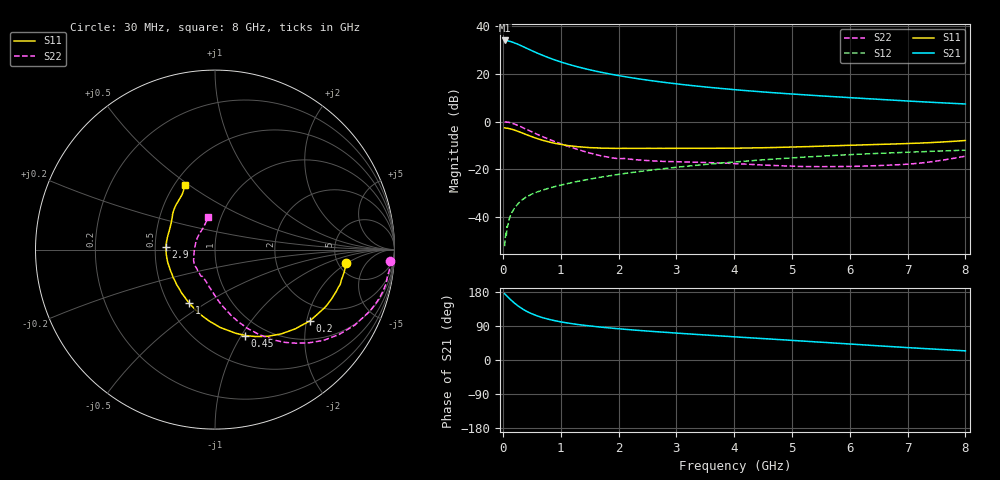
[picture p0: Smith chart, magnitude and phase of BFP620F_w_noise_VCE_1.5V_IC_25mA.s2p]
! Infineon Technologies  Discrete & RF Semiconductors
! BFP620F
! VCE =  1.5 V,  IC =  25 mA
! Common Emitter S-Parameters:  Dec 2014
# GHz  S  MA  R  50
!  f  S11  S21  S12  S22
! GHz  MAG  ANG  MAG  ANG  MAG  ANG  MAG  ANG
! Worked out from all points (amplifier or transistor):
!   95 points, 30 MHz to 8 GHz, reference 50 ohm
!   highest |S21| = 34.1 dB at 30 MHz (marker M1)
!   |S21| within 3 dB of that: start of sweep to 386.6 MHz
!   unconditionally stable (mu >= 1): 2.697 GHz to end of sweep
!   at 300 MHz: K = 0.33, MSG = 32.8 dB, |S12| = -33.6 dB
!   at 3.3 GHz: K = 1.02, MAG = 16.0 dB, |S12| = -18.5 dB
!   at 8 GHz: K = 1.06, MAG = 8.2 dB, |S12| = -12.0 dB
!   lowest NFmin = 1.00 dB at 450 MHz
!   S11 on the Smith chart (normalised r, x): 30 MHz: 5.91, -1.91; 200 MHz: 1.49, -2.10; 450 MHz: 0.81, -1.04; 1 GHz: 0.64, -0.42; 2.9 GHz: 0.57, +0.02; 8 GHz: 0.56, +0.48
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0.03  0.735 -5.8  50.52 175.1  0.0024 85.8  0.976 -3.6
0.07  0.724 -13.6  50.05 168.8  0.0062 80.0  0.9723 -10.0
0.12  0.7056 -22.9  48.38 161.1  0.0096 80.4  0.9495 -17.6
0.15  0.6902 -28.2  47.28 156.9  0.0119 79.3  0.9274 -21.8
0.2  0.6621 -36.7  44.89 150.3  0.015 74.1  0.8843 -28.5
0.25  0.6285 -44.6  42.51 144.1  0.018 71.8  0.8365 -34.5
0.3  0.5975 -51.8  40.01 138.7  0.0209 69.7  0.7875 -40.0
0.4  0.5341 -65.1  35.16 129.4  0.0257 65.7  0.691 -49.0
0.45  0.5074 -70.6  32.92 125.5  0.0276 64.8  0.6485 -52.9
0.6  0.4351 -86.1  27.25 116.0  0.0333 62.8  0.534 -62.5
0.7  0.3995 -94.6  24.25 111.2  0.0366 61.7  0.4736 -67.7
0.8  0.3715 -102.4  21.73 107.2  0.0398 61.4  0.4219 -72.1
1  0.3309 -116.0  17.91 100.7  0.046 61.4  0.3415 -79.7
1.2  0.3049 -127.6  15.14 95.8  0.0522 61.2  0.2823 -86.6
1.4  0.2893 -137.6  13.08 91.7  0.0584 61.1  0.2368 -93.3
2  0.2723 -160.7  9.24 82.5  0.0774 59.9  0.1654 -114.7
2.7  0.2728 -178.6  6.873 74.2  0.0995 57.3  0.1465 -134.1
2.9  0.2732 177.3  6.405 72.1  0.1059 56.5  0.144 -138.5
4.1  0.2763 157.1  4.572 60.2  0.1439 50.1  0.1287 -157.3
5.4  0.3004 142.4  3.52 47.9  0.1839 41.7  0.113 173.5
6.7  0.3352 128.8  2.832 35.5  0.2188 32.4  0.1214 139.0
8  0.3992 115.1  2.336 24.1  0.2499 23.3  0.1868 101.5
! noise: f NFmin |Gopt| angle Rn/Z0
0.45  1  0.01  10  0.2
0.9  1.04  0.01  11  0.16
1.5  1.06  0.02  -150  0.16
1.8  1.07  0.03  -150  0.16
1.9  1.07  0.04  -150  0.15
2.4  1.1  0.06  -147  0.16
3.5  1.17  0.1  -145  0.16
5.5  1.32  0.18  236  0.12
6  1.36  0.18  258  0.15
